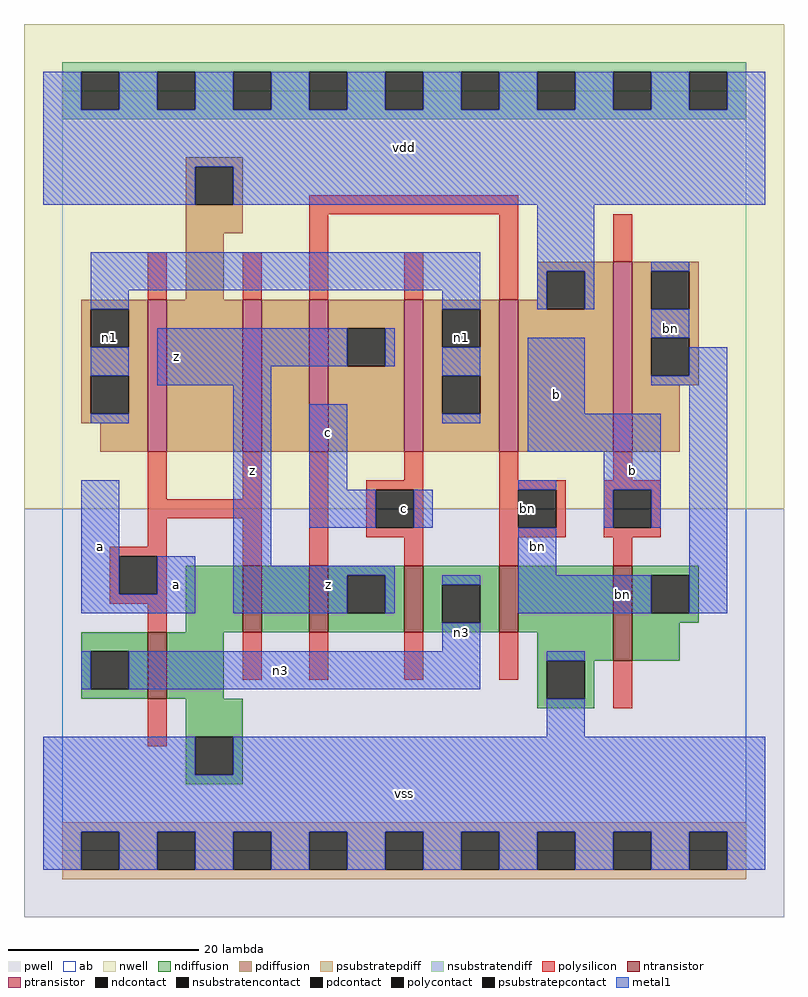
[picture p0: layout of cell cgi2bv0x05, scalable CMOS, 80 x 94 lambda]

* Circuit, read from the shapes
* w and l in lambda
.subckt cgi2bv0x05 a b bn c n1 n3 vdd vss z
M1 vss a n3 vss nfet w=7 l=2
M2 n2 a vss vss nfet w=7 l=2
M3 z bn n2 vss nfet w=7 l=2
M4 n3 c z vss nfet w=7 l=2
M5 vss bn n3 vss nfet w=7 l=2
M6 bn b vss vss nfet w=10 l=2
M7 vdd a n1 vdd pfet w=16 l=2
M8 n4 a vdd vdd pfet w=16 l=2
M9 z bn n4 vdd pfet w=16 l=2
M10 n1 c z vdd pfet w=16 l=2
M11 vdd bn n1 vdd pfet w=16 l=2
M12 bn b vdd vdd pfet w=20 l=2
.ends

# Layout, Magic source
magic
tech scmos
<< ab >>
rect 0 0 72 80
<< pwell >>
rect -4 -7 76 36
<< nwell >>
rect -4 36 76 87
<< polysilicon >>
rect 26 67 48 69
rect 9 58 11 63
rect 19 58 21 63
rect 26 58 28 67
rect 36 58 38 63
rect 46 58 48 67
rect 58 62 60 67
rect 9 37 11 42
rect 19 37 21 42
rect 9 35 21 37
rect 9 32 11 35
rect 5 31 11 32
rect 5 27 6 31
rect 10 27 11 31
rect 19 30 21 35
rect 26 30 28 42
rect 36 39 38 42
rect 32 38 38 39
rect 32 34 33 38
rect 37 34 38 38
rect 32 33 38 34
rect 36 30 38 33
rect 46 39 48 42
rect 58 39 60 42
rect 46 38 53 39
rect 46 34 48 38
rect 52 34 53 38
rect 46 33 53 34
rect 57 38 63 39
rect 57 34 58 38
rect 62 34 63 38
rect 57 33 63 34
rect 46 30 48 33
rect 58 30 60 33
rect 5 26 11 27
rect 9 23 11 26
rect 19 18 21 23
rect 26 18 28 23
rect 36 18 38 23
rect 46 18 48 23
rect 9 11 11 16
rect 58 15 60 20
<< ndiffusion >>
rect 13 23 19 30
rect 21 23 26 30
rect 28 29 36 30
rect 28 25 30 29
rect 34 25 36 29
rect 28 23 36 25
rect 38 28 46 30
rect 38 24 40 28
rect 44 24 46 28
rect 38 23 46 24
rect 48 23 58 30
rect 2 21 9 23
rect 2 17 3 21
rect 7 17 9 21
rect 2 16 9 17
rect 11 16 17 23
rect 50 20 58 23
rect 60 29 67 30
rect 60 25 62 29
rect 66 25 67 29
rect 60 24 67 25
rect 60 20 65 24
rect 50 16 51 20
rect 55 16 56 20
rect 13 12 19 16
rect 50 15 56 16
rect 13 8 14 12
rect 18 8 19 12
rect 13 7 19 8
<< pdiffusion >>
rect 13 72 19 73
rect 13 68 14 72
rect 18 68 19 72
rect 13 65 19 68
rect 13 58 17 65
rect 50 61 58 62
rect 50 58 51 61
rect 2 57 9 58
rect 2 53 3 57
rect 7 53 9 57
rect 2 50 9 53
rect 2 46 3 50
rect 7 46 9 50
rect 2 45 9 46
rect 4 42 9 45
rect 11 42 19 58
rect 21 42 26 58
rect 28 55 36 58
rect 28 51 30 55
rect 34 51 36 55
rect 28 42 36 51
rect 38 57 46 58
rect 38 53 40 57
rect 44 53 46 57
rect 38 50 46 53
rect 38 46 40 50
rect 44 46 46 50
rect 38 42 46 46
rect 48 57 51 58
rect 55 57 58 61
rect 48 42 58 57
rect 60 61 67 62
rect 60 57 62 61
rect 66 57 67 61
rect 60 54 67 57
rect 60 50 62 54
rect 66 50 67 54
rect 60 49 67 50
rect 60 42 65 49
<< metal1 >>
rect -2 78 2 82
rect 6 78 10 82
rect 14 78 18 82
rect 22 78 26 82
rect 30 78 34 82
rect 38 78 42 82
rect 46 78 50 82
rect 54 78 58 82
rect 62 78 66 82
rect 70 78 74 82
rect -2 72 74 78
rect -2 68 14 72
rect 18 68 74 72
rect 3 59 44 63
rect 3 57 7 59
rect 40 57 44 59
rect 50 61 56 68
rect 50 57 51 61
rect 55 57 56 61
rect 62 61 66 62
rect 3 50 7 53
rect 10 51 30 55
rect 34 51 35 55
rect 62 54 66 57
rect 10 49 22 51
rect 3 45 7 46
rect 2 27 6 39
rect 10 27 14 31
rect 2 25 14 27
rect 18 30 22 49
rect 40 50 44 53
rect 26 38 30 47
rect 40 45 44 46
rect 49 46 55 54
rect 66 50 70 53
rect 62 49 70 50
rect 49 42 63 46
rect 48 38 52 39
rect 26 34 33 38
rect 37 34 39 38
rect 57 38 63 42
rect 57 34 58 38
rect 62 34 63 38
rect 18 29 35 30
rect 48 29 52 34
rect 18 25 30 29
rect 34 25 35 29
rect 40 28 44 29
rect 48 25 62 29
rect 66 25 70 49
rect 40 21 44 24
rect 2 17 3 21
rect 7 17 44 21
rect 51 20 55 21
rect 51 12 55 16
rect -2 8 14 12
rect 18 8 74 12
rect -2 2 74 8
rect -2 -2 2 2
rect 6 -2 10 2
rect 14 -2 18 2
rect 22 -2 26 2
rect 30 -2 34 2
rect 38 -2 42 2
rect 46 -2 50 2
rect 54 -2 58 2
rect 62 -2 66 2
rect 70 -2 74 2
<< ntransistor >>
rect 19 23 21 30
rect 26 23 28 30
rect 36 23 38 30
rect 46 23 48 30
rect 9 16 11 23
rect 58 20 60 30
<< ptransistor >>
rect 9 42 11 58
rect 19 42 21 58
rect 26 42 28 58
rect 36 42 38 58
rect 46 42 48 58
rect 58 42 60 62
<< polycontact >>
rect 6 27 10 31
rect 33 34 37 38
rect 48 34 52 38
rect 58 34 62 38
<< ndcontact >>
rect 30 25 34 29
rect 40 24 44 28
rect 3 17 7 21
rect 62 25 66 29
rect 51 16 55 20
rect 14 8 18 12
<< pdcontact >>
rect 14 68 18 72
rect 3 53 7 57
rect 3 46 7 50
rect 30 51 34 55
rect 40 53 44 57
rect 40 46 44 50
rect 51 57 55 61
rect 62 57 66 61
rect 62 50 66 54
<< psubstratepcontact >>
rect 2 -2 6 2
rect 10 -2 14 2
rect 18 -2 22 2
rect 26 -2 30 2
rect 34 -2 38 2
rect 42 -2 46 2
rect 50 -2 54 2
rect 58 -2 62 2
rect 66 -2 70 2
<< nsubstratencontact >>
rect 2 78 6 82
rect 10 78 14 82
rect 18 78 22 82
rect 26 78 30 82
rect 34 78 38 82
rect 42 78 46 82
rect 50 78 54 82
rect 58 78 62 82
rect 66 78 70 82
<< psubstratepdiff >>
rect 0 2 72 3
rect 0 -2 2 2
rect 6 -2 10 2
rect 14 -2 18 2
rect 22 -2 26 2
rect 30 -2 34 2
rect 38 -2 42 2
rect 46 -2 50 2
rect 54 -2 58 2
rect 62 -2 66 2
rect 70 -2 72 2
rect 0 -3 72 -2
<< nsubstratendiff >>
rect 0 82 72 83
rect 0 78 2 82
rect 6 78 10 82
rect 14 78 18 82
rect 22 78 26 82
rect 30 78 34 82
rect 38 78 42 82
rect 46 78 50 82
rect 54 78 58 82
rect 62 78 66 82
rect 70 78 72 82
rect 0 77 72 78
<< labels >>
rlabel polycontact 49 36 49 36 6 bn
rlabel metal1 4 32 4 32 6 a
rlabel pdcontact 5 54 5 54 6 n1
rlabel metal1 12 28 12 28 6 a
rlabel metal1 20 40 20 40 6 z
rlabel metal1 12 52 12 52 6 z
rlabel metal1 36 6 36 6 6 vss
rlabel metal1 28 28 28 28 6 z
rlabel metal1 28 44 28 44 6 c
rlabel polycontact 36 36 36 36 6 c
rlabel metal1 36 74 36 74 6 vdd
rlabel metal1 42 23 42 23 6 n3
rlabel metal1 23 19 23 19 6 n3
rlabel metal1 50 32 50 32 6 bn
rlabel metal1 52 48 52 48 6 b
rlabel pdcontact 42 54 42 54 6 n1
rlabel metal1 59 27 59 27 6 bn
rlabel metal1 60 40 60 40 6 b
rlabel metal1 64 55 64 55 6 bn
<< end >>
